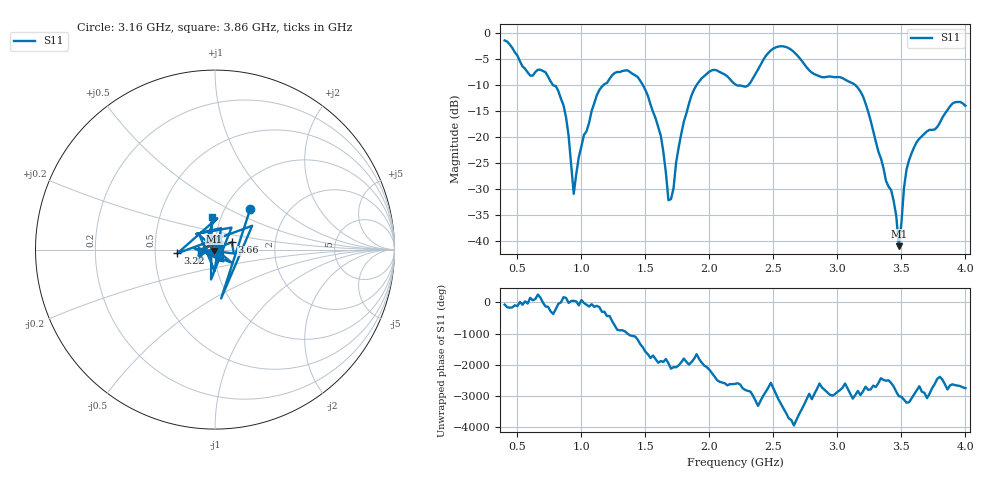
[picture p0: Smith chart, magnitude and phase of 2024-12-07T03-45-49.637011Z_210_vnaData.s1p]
!Created with skrf (http://scikit-rf.org).
# Hz S RI R 50.0
!freq ReS11 ImS11
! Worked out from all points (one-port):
!   181 points, 400 MHz to 4 GHz, reference 50 ohm
!   lowest |S11| = -41.0 dB at 3.48 GHz (marker M1), VSWR 1.02, Z = 49.5 - j0.761 ohm
!   |S11| at or under -10 dB: 777.8 MHz to 1.173 GHz (395.1 MHz wide, 40.5 % of centre); 1.48 GHz to 1.9 GHz (419.4 MHz wide, 24.8 % of centre); 3.14 GHz to end of sweep (the widest 3 of 4)
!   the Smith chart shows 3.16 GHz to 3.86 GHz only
!   S11 on the Smith chart (normalised r, x): 3.16 GHz: 1.31, +0.64; 3.22 GHz: 0.65, -0.03; 3.66 GHz: 1.20, +0.10; 3.86 GHz: 0.90, +0.34
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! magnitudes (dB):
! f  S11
! 400 MHz  -1.4
! 860 MHz  -13.9
! 900 MHz  -19.8
! 940 MHz  -30.9
! 1.02 GHz  -19.6
! 1.12 GHz  -12.0
! 1.3 GHz  -7.5
! 1.52 GHz  -12.1
! 1.62 GHz  -19.7
! 1.68 GHz  -32.2
! 1.72 GHz  -29.8
! 1.76 GHz  -22.0
! 1.86 GHz  -12.0
! 1.94 GHz  -8.7
! 2.2 GHz  -9.8
! 2.3 GHz  -10.1
! 2.5 GHz  -3.0
! 2.66 GHz  -3.6
! 3.1 GHz  -9.5
! 3.16 GHz  -10.5
! 3.22 GHz  -13.5
! 3.42 GHz  -30.2
! 3.48 GHz  -41.0
! 3.52 GHz  -29.9
! 3.56 GHz  -24.4
! 3.66 GHz  -19.8
! 3.86 GHz  -14.8
! 4 GHz  -14.0
